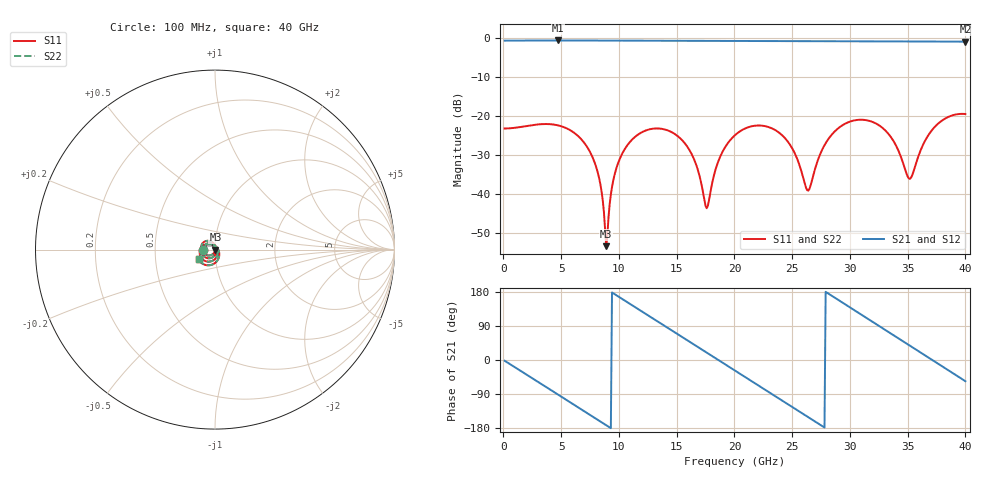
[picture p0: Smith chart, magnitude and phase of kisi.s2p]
! thru_ts6_L3: 2×thru, L3, 8 mm
! stackup: ThunderScope Rev5.3 6-layer (FR408HR / FR-4, from the board file)
! ports: 1, 2
! kisi-fdtd, conformal, dfine 0.035 mm, 360192 cells
# Hz S RI R 50
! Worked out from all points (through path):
!   400 points, 100 MHz to 40 GHz, reference 50 ohm
!   highest |S21| = -0.59 dB at 4.7 GHz (marker M1); lowest = -0.9 dB at 40 GHz (marker M2)
!   group delay of S21, straight-line fit = 53.9 ps
!   lowest |S11| = -53.5 dB at 8.9 GHz (marker M3), VSWR 1.00, Z = 50.2 + j0.00639 ohm
!   |S11| at or under -10 dB: start of sweep to end of sweep
!   |S22| runs from -53.5 to -19.5 dB; largest |S21 - S12| = 0
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1e8  -0.069 0.000154  0.9288 -0.0312  0.9288 -0.0312  -0.069 0.000154
2.7e9  -0.0758 0.0138  0.5738 -0.7351  0.5738 -0.7351  -0.0758 0.0138
4.7e9  -0.0642 0.0405  -0.0135 -0.9342  -0.0135 -0.9342  -0.0642 0.0405
6.8e9  -0.0206 0.0445  -0.6191 -0.6976  -0.6191 -0.6976  -0.0206 0.0445
8.3e9  0.00169 0.0154  -0.8778 -0.3088  -0.8778 -0.3088  0.00169 0.0154
8.9e9  0.00212 6.36e-05  -0.9212 -0.126  -0.9212 -0.126  0.00212 6.36e-05
9.4e9  -0.00181 -0.0121  -0.9286 0.0303  -0.9286 0.0303  -0.00181 -0.0121
1.01e10  -0.0131 -0.0256  -0.8952 0.2462  -0.8952 0.2462  -0.0131 -0.0256
1.34e10  -0.069 0.00337  -0.175 0.9104  -0.175 0.9104  -0.069 0.00337
1.61e10  -0.018 0.0319  0.6123 0.6946  0.6123 0.6946  -0.018 0.0319
1.76e10  0.00641 0.00118  0.8714 0.3092  0.8714 0.3092  0.00641 0.00118
1.86e10  0.00234 -0.026  0.9236 0.00262  0.9236 0.00262  0.00234 -0.026
2.01e10  -0.031 -0.0484  0.8072 -0.4453  0.8072 -0.4453  -0.031 -0.0484
2.34e10  -0.0658 0.0155  -0.0447 -0.9178  -0.0447 -0.9178  -0.0658 0.0155
2.63e10  0.00889 0.00668  -0.7864 -0.4716  -0.7864 -0.4716  0.00889 0.00668
2.67e10  0.0135 -0.0056  -0.8427 -0.3607  -0.8427 -0.3607  0.0135 -0.0056
2.94e10  -0.037 -0.0672  -0.7965 0.4475  -0.7965 0.4475  -0.037 -0.0672
3.15e10  -0.0852 -0.0214  -0.3089 0.8563  -0.3089 0.8563  -0.0852 -0.0214
3.34e10  -0.0485 0.0306  0.2667 0.8676  0.2667 0.8676  -0.0485 0.0306
3.52e10  0.0132 0.00831  0.715 0.5568  0.715 0.5568  0.0132 0.00831
3.72e10  0.00737 -0.068  0.9053 -0.0176  0.9053 -0.0176  0.00737 -0.068
4e10  -0.0912 -0.054  0.5039 -0.7477  0.5039 -0.7477  -0.0912 -0.054
